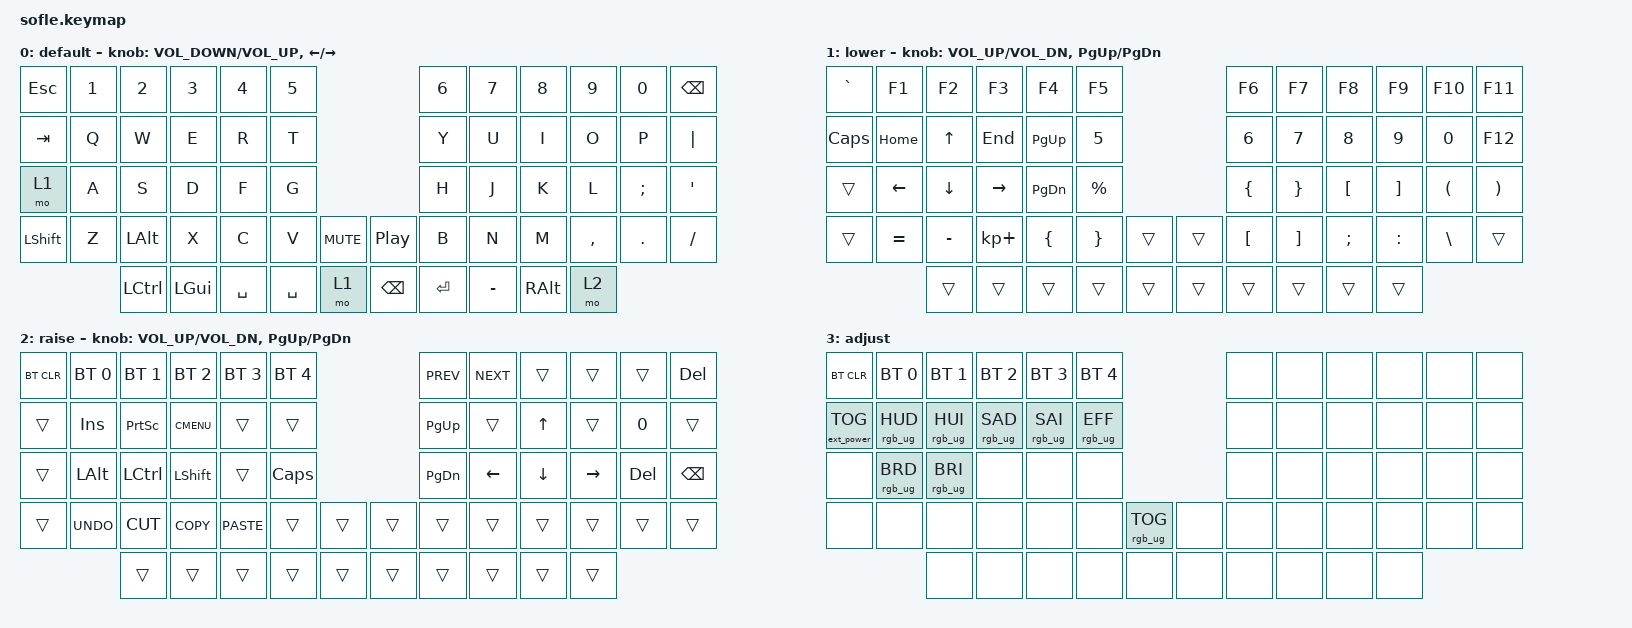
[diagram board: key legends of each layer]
/*
 * Copyright (c) 2020 The ZMK Contributors
 *
 * SPDX-License-Identifier: MIT
 */

#include <behaviors.dtsi>
#include <dt-bindings/zmk/bt.h>
#include <dt-bindings/zmk/ext_power.h>
#include <dt-bindings/zmk/keys.h>
#include <dt-bindings/zmk/rgb.h>

#define BASE 0
#define LOWER 1
#define RAISE 2
#define ADJUST 3

/ {
    // Activate ADJUST layer by pressing raise and lower

    conditional_layers {
        compatible = "zmk,conditional-layers";

        adjust_layer {
            if-layers = <LOWER RAISE>;
            then-layer = <ADJUST>;
        };
    };

    keymap {
        compatible = "zmk,keymap";

        default_layer {
            label = "default";

            // ------------------------------------------------------------------------------------------------------------
            // |   `   |  1  |  2  |  3   |  4   |  5   |                   |  6   |  7    |  8    |  9   |   0   |       |
            // |  ESC  |  Q  |  W  |  E   |  R   |  T   |                   |  Y   |  U    |  I    |  O   |   P   | BKSPC |
            // |  TAB  |  A  |  S  |  D   |  F   |  G   |                   |  H   |  J    |  K    |  L   |   ;   |   '   |
            // | SHIFT |  Z  |  X  |  C   |  V   |  B   |  MUTE  |  |       |  N   |  M    |  ,    |  .   |   /   | SHIFT |
            //               | GUI | ALT  | CTRL | LOWER|  ENTER |  | SPACE | RAISE| CTRL  | ALT   | GUI  |

            bindings = <
&kp ESC    &kp N1  &kp N2        &kp N3    &kp N4     &kp N5                                     &kp N6     &kp N7     &kp N8    &kp N9     &kp N0      &kp BACKSPACE
&kp TAB    &kp Q   &kp W         &kp E     &kp R      &kp T                                      &kp Y      &kp U      &kp I     &kp O      &kp P       &kp PIPE
&mo 1      &kp A   &kp S         &kp D     &kp F      &kp G                                      &kp H      &kp J      &kp K     &kp L      &kp SEMI    &kp SQT
&kp LSHFT  &kp Z   &kp LEFT_ALT  &kp X     &kp C      &kp V      &kp C_MUTE    &kp C_PLAY_PAUSE  &kp B      &kp N      &kp M     &kp COMMA  &kp PERIOD  &kp SLASH
                   &kp LCTRL     &kp LGUI  &kp SPACE  &kp SPACE  &mo 1         &kp BACKSPACE     &kp ENTER  &kp MINUS  &kp RALT  &mo 2
            >;

            sensor-bindings =
                <&inc_dec_kp C_VOLUME_DOWN C_VOLUME_UP>,
                <&inc_dec_kp LEFT_ARROW RIGHT_ARROW>;
        };

        lower_layer {
            label = "lower";

            // TODO: Some binds are waiting for shifted keycode support.
            // ------------------------------------------------------------------------------------------------------------
            // |       |  F1 |  F2 |  F3  |  F4  |  F5  |                   |  F6  |  F7   |  F8   |  F9  |  F10  |  F11  |
            // |   `   |  1  |  2  |  3   |  4   |  5   |                   |  6   |  7    |  8    |  9   |   0   |  F12  |
            // |       |  !  |  @  |  #   |  $   |  %   |                   |  ^   |  &    |  *    |  (   |   )   |   |   |
            // |       |  =  |  -  |  +   |  {   |  }   |        |  |       |  [   |  ]    |  ;    |  :   |   \   |       |
            //               |     |      |      |      |        |  |       |      |       |       |      |

            bindings = <
&kp GRAVE     &kp F1     &kp F2        &kp F3       &kp F4         &kp F5                       &kp F6          &kp F7           &kp F8            &kp F9             &kp F10               &kp F11
&kp CAPSLOCK  &kp HOME   &kp UP_ARROW  &kp END      &kp PG_UP      &kp N5                       &kp N6          &kp N7           &kp N8            &kp N9             &kp N0                &kp F12
&trans        &kp LEFT   &kp DOWN      &kp RIGHT    &kp PAGE_DOWN  &kp PRCNT                    &kp LEFT_BRACE  &kp RIGHT_BRACE  &kp LEFT_BRACKET  &kp RIGHT_BRACKET  &kp LEFT_PARENTHESIS  &kp RIGHT_PARENTHESIS
&trans        &kp EQUAL  &kp MINUS     &kp KP_PLUS  &kp LBRC       &kp RBRC   &trans    &trans  &kp LBKT        &kp RBKT         &kp SEMI          &kp COLON          &kp BSLH              &trans
                         &trans        &trans       &trans         &trans     &trans    &trans  &trans          &trans           &trans            &trans
            >;

            sensor-bindings = <&inc_dec_kp C_VOL_UP C_VOL_DN &inc_dec_kp PG_UP PG_DN>;
        };

        raise_layer {
            label = "raise";

            // ------------------------------------------------------------------------------------------------------------
            // | BTCLR | BT1  | BT2  |  BT3  |  BT4  |  BT5 |                |      |      |       |      |       |       |
            // |       | INS  | PSCR | GUI   |       |      |                | PGUP |      |   ^   |      |       |       |
            // |       | ALT  | CTRL | SHIFT |       | CAPS |                | PGDN |   <- |   v   |  ->  |  DEL  | BKSPC |
            // |       | UNDO | CUT  | COPY  | PASTE |      |      |  |      |      |      |       |      |       |       |
            //                |      |       |       |      |      |  |      |      |      |       |      |

            bindings = <
&bt BT_CLR  &bt BT_SEL 0  &bt BT_SEL 1  &bt BT_SEL 2  &bt BT_SEL 3  &bt BT_SEL 4                    &kp K_PREV  &kp K_NEXT  &trans    &trans     &trans   &kp DEL
&trans      &kp INS       &kp PSCRN     &kp K_CMENU   &trans        &trans                          &kp PG_UP   &trans      &kp UP    &trans     &kp N0   &trans
&trans      &kp LALT      &kp LCTRL     &kp LSHFT     &trans        &kp CLCK                        &kp PG_DN   &kp LEFT    &kp DOWN  &kp RIGHT  &kp DEL  &kp BSPC
&trans      &kp K_UNDO    &kp K_CUT     &kp K_COPY    &kp K_PASTE   &trans        &trans    &trans  &trans      &trans      &trans    &trans     &trans   &trans
                          &trans        &trans        &trans        &trans        &trans    &trans  &trans      &trans      &trans    &trans
            >;

            sensor-bindings = <&inc_dec_kp C_VOL_UP C_VOL_DN &inc_dec_kp PG_UP PG_DN>;
        };

        adjust_layer {
            // ----------------------------------------------------------------------------------------------------------------------------
            // | BTCLR  |  BT1    |  BT2    |   BT3   |   BT4   |   BT5   |                  |      |      |       |      |       |       |
            // | EXTPWR | RGB_HUD | RGB_HUI | RGB_SAD | RGB_SAI | RGB_EFF |                  |      |      |       |      |       |       |
            // |        | RGB_BRD | RGB_BRI |         |         |         |                  |      |      |       |      |       |       |
            // |        |         |         |         |         |         | RGB_TOG | |      |      |      |       |      |       |       |
            //                    |         |         |         |         |         | |      |      |      |       |      |

            label = "adjust";
            bindings = <
&bt BT_CLR         &bt BT_SEL 0     &bt BT_SEL 1     &bt BT_SEL 2     &bt BT_SEL 3     &bt BT_SEL 4                               &none  &none  &none  &none  &none  &none
&ext_power EP_TOG  &rgb_ug RGB_HUD  &rgb_ug RGB_HUI  &rgb_ug RGB_SAD  &rgb_ug RGB_SAI  &rgb_ug RGB_EFF                            &none  &none  &none  &none  &none  &none
&none              &rgb_ug RGB_BRD  &rgb_ug RGB_BRI  &none            &none            &none                                      &none  &none  &none  &none  &none  &none
&none              &none            &none            &none            &none            &none            &rgb_ug RGB_TOG    &none  &none  &none  &none  &none  &none  &none
                                    &none            &none            &none            &none            &none              &none  &none  &none  &none  &none
            >;
        };
    };
};
